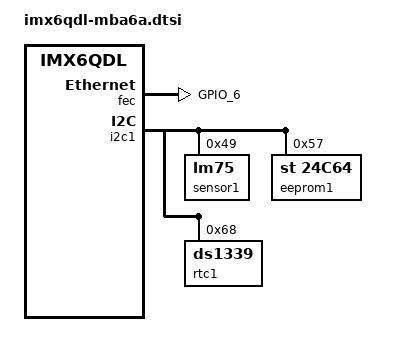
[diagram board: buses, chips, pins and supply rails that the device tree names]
// SPDX-License-Identifier: GPL-2.0+
//
// Copyright (C) 2020 TQ-Systems GmbH

&fec {
	pinctrl-names = "default";
	pinctrl-0 = <&pinctrl_enet>, <&pinctrl_enet_fix>;
	interrupts-extended = <&gpio1 6 IRQ_TYPE_LEVEL_HIGH>,
			      <&intc 0 119 IRQ_TYPE_LEVEL_HIGH>;
};

&i2c1 {
	sensor1: lm75@49 {
		compatible = "lm75";
		reg = <0x49>;
	};

	eeprom1: m24c64@57 {
		compatible = "st,24c64", "at24";
		reg = <0x57>;
		pagesize = <32>;
	};

	rtc1: ds1339@68 {
		compatible = "ds1339";
		reg = <0x68>;
	};
};

&iomuxc {
	mba6 {
		pinctrl_enet_fix: enetfixgrp {
			fsl,pins = <
				/* ENET ping patch */
				MX6QDL_PAD_GPIO_6__ENET_IRQ 0x000b1
			>;
		};
	};
};
